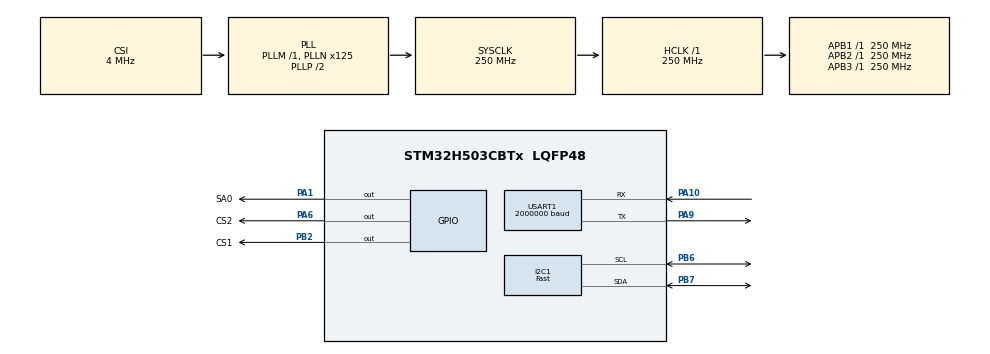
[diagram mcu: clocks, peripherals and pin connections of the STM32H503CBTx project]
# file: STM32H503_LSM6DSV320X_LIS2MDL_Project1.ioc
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I2C1.I2C_Speed_Mode=I2C_Fast
I2C1.Timing=0x10C043E5
Mcu.Family=STM32H5
Mcu.Name=STM32H503CBTx
Mcu.Package=LQFP48
NVIC.PriorityGroup=NVIC_PRIORITYGROUP_4
PA1.GPIO_Label=SA0
PA1.Signal=GPIO_Output
PA10.Mode=Asynchronous
PA10.Signal=USART1_RX
PA6.GPIO_Label=CS2
PA6.Signal=GPIO_Output
PA9.Mode=Asynchronous
PA9.Signal=USART1_TX
PB2.GPIO_Label=CS1
PB2.Signal=GPIO_Output
PB6.Mode=I2C
PB6.Signal=I2C1_SCL
PB7.Mode=I2C
PB7.Signal=I2C1_SDA
ProjectManager.HeapSize=0x2000
ProjectManager.StackSize=0x4000
ProjectManager.TargetToolchain=MDK-ARM V5.37
RCC.ADCFreq_Value=250000000
RCC.AHBFreq_Value=250000000
RCC.APB1Freq_Value=250000000
RCC.APB1TimFreq_Value=250000000
RCC.APB2Freq_Value=250000000
RCC.APB2TimFreq_Value=250000000
RCC.APB3Freq_Value=250000000
RCC.CSI_VALUE=4000000
RCC.CortexFreq_Value=250000000
RCC.EPOD_VALUE=4000000
RCC.HCLKFreq_Value=250000000
RCC.HSE_VALUE=25000000
RCC.HSI48_VALUE=48000000
RCC.HSI_VALUE=64000000
RCC.LSE_VALUE=32768
RCC.LSIRC_VALUE=32000
RCC.PLL2FRACN=0
RCC.PLLFRACN=0
RCC.PLLN=125
RCC.SYSCLKFreq_VALUE=250000000
RCC.SYSCLKSource=RCC_SYSCLKSOURCE_PLLCLK
RCC.USBFreq_Value=48000000
RCC.VCOOutputFreq_Value=500000000
USART1.BaudRate=2000000
USART1.VirtualMode-Asynchronous=VM_ASYNC
VP_BOOTPATH_VS_BOOTPATH.Mode=BP_Activate
VP_CORTEX_M33_NS_VS_Hclk.Mode=Hclk_Mode
VP_ICACHE_VS_ICACHE.Mode=DirectMappedCache
VP_MEMORYMAP_VS_MEMORYMAP.Mode=CurAppReg
VP_PWR_VS_LPOM.Mode=PowerOptimisation
VP_PWR_VS_SECSignals.Mode=Security/Privilege
board=custom

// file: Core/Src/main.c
/* USER CODE BEGIN Header */
/**
  ******************************************************************************
  * @file           : main.c
  * @brief          : Main program body
  ******************************************************************************
  * @attention
  *
  * Copyright (c) 2026 STMicroelectronics.
  * All rights reserved.
  *
  * This software is licensed under terms that can be found in the LICENSE file
  * in the root directory of this software component.
  * If no LICENSE file comes with this software, it is provided AS-IS.
  *
  ******************************************************************************
  */
/* USER CODE END Header */
#include "main.h"
#include "i2c.h"
#include "icache.h"
#include "usart.h"
#include "gpio.h"

/* USER CODE BEGIN Includes */
#include "stdio.h"
#include "lsm6dsv320x_reg.h"
#include <string.h>
/* USER CODE END Includes */

void SystemClock_Config(void);
/* USER CODE BEGIN PFP */
int fputc(int ch, FILE *f){
	HAL_UART_Transmit(&huart1 , (uint8_t *)&ch, 1, 0xFFFF);
	return ch;
}
/* USER CODE END PFP */

/* USER CODE BEGIN 0 */
#define SENSOR_BUS hi2c1

/* Private macro -------------------------------------------------------------*/
#define    BOOT_TIME            10 //ms
#define    CNT_FOR_OUTPUT       100

/* Private variables ---------------------------------------------------------*/
static int16_t data_raw_motion[3];
static int16_t data_raw_temperature;
static float_t acceleration_mg[3];
static float_t angular_rate_mdps[3];
static float_t temperature_degC;
static uint8_t whoamI;
static uint8_t tx_buffer[1000];

static lsm6dsv320x_filt_settling_mask_t filt_settling_mask;

/* Extern variables ----------------------------------------------------------*/

/* Private functions ---------------------------------------------------------*/

/*
 *   WARNING:
 *   Functions declare in this section are defined at the end of this file
 *   and are strictly related to the hardware platform used.
 *
 */
static int32_t platform_write(void *handle, uint8_t reg, const uint8_t *bufp,
                              uint16_t len);
static int32_t platform_read(void *handle, uint8_t reg, uint8_t *bufp,
                             uint16_t len);
static void tx_com( uint8_t *tx_buffer, uint16_t len );
static void platform_delay(uint32_t ms);
static void platform_init(void);

/* USER CODE END 0 */

int main(void)
{

  /* MCU Configuration--------------------------------------------------------*/

  /* Reset of all peripherals, Initializes the Flash interface and the Systick. */
  HAL_Init();

  /* Configure the system clock */
  SystemClock_Config();

  /* Initialize all configured peripherals */
  MX_GPIO_Init();
  MX_I2C1_Init();
  MX_ICACHE_Init();
  MX_USART1_UART_Init();
  /* USER CODE BEGIN 2 */

	printf("HELLO!\n");
  HAL_GPIO_WritePin(CS1_GPIO_Port, CS1_Pin, GPIO_PIN_SET);
  HAL_GPIO_WritePin(SA0_GPIO_Port, SA0_Pin, GPIO_PIN_RESET);
  HAL_GPIO_WritePin(CS2_GPIO_Port, CS2_Pin, GPIO_PIN_SET);
	HAL_Delay(100);

  stmdev_ctx_t dev_ctx;
  double_t lowg_xl_sum[3], hg_xl_sum[3], gyro_sum[3], temp_sum;
  uint16_t lowg_xl_cnt = 0, hg_xl_cnt = 0, gyro_cnt = 0, temp_cnt = 0;

  /* Initialize mems driver interface */
  dev_ctx.write_reg = platform_write;
  dev_ctx.read_reg = platform_read;
  dev_ctx.mdelay = platform_delay;
  dev_ctx.handle = &SENSOR_BUS;

  /* Init test platform */
//  platform_init();

  /* Wait sensor boot time */
  platform_delay(BOOT_TIME);

  /* Check device ID */
  lsm6dsv320x_device_id_get(&dev_ctx, &whoamI);
	printf("LSM6DSV320X_ID=0x%x,whoamI=0x%x",LSM6DSV320X_ID,whoamI);
  if (whoamI != LSM6DSV320X_ID)
    while (1);

  /* Perform device power-on-reset */
  lsm6dsv320x_sw_por(&dev_ctx);

  /* Enable Block Data Update */
  lsm6dsv320x_block_data_update_set(&dev_ctx, PROPERTY_ENABLE);

  /* Set Output Data Rate.
   * Selected data rate have to be equal or greater with respect
   * with MLC data rate.
   */
  lsm6dsv320x_xl_setup(&dev_ctx, LSM6DSV320X_ODR_AT_60Hz, LSM6DSV320X_XL_HIGH_PERFORMANCE_MD);
  lsm6dsv320x_hg_xl_data_rate_set(&dev_ctx, LSM6DSV320X_HG_XL_ODR_AT_960Hz, 1);
  lsm6dsv320x_gy_setup(&dev_ctx, LSM6DSV320X_ODR_AT_120Hz, LSM6DSV320X_GY_HIGH_PERFORMANCE_MD);

  /* Set full scale */
  lsm6dsv320x_xl_full_scale_set(&dev_ctx, LSM6DSV320X_2g);
  lsm6dsv320x_hg_xl_full_scale_set(&dev_ctx, LSM6DSV320X_320g);
  lsm6dsv320x_gy_full_scale_set(&dev_ctx, LSM6DSV320X_2000dps);

  /* Configure filtering chain */
  filt_settling_mask.drdy = PROPERTY_ENABLE;
  filt_settling_mask.irq_xl = PROPERTY_ENABLE;
  filt_settling_mask.irq_g = PROPERTY_ENABLE;
  lsm6dsv320x_filt_settling_mask_set(&dev_ctx, filt_settling_mask);
  lsm6dsv320x_filt_gy_lp1_set(&dev_ctx, PROPERTY_ENABLE);
  lsm6dsv320x_filt_gy_lp1_bandwidth_set(&dev_ctx, LSM6DSV320X_GY_ULTRA_LIGHT);
  lsm6dsv320x_filt_xl_lp2_set(&dev_ctx, PROPERTY_ENABLE);
  lsm6dsv320x_filt_xl_lp2_bandwidth_set(&dev_ctx, LSM6DSV320X_XL_STRONG);

  lowg_xl_sum[0] = lowg_xl_sum[1] = lowg_xl_sum[2] = 0.0;
  hg_xl_sum[0] = hg_xl_sum[1] = hg_xl_sum[2] = 0.0;
  gyro_sum[0] = gyro_sum[1] = gyro_sum[2] = 0.0;
  temp_sum = 0.0;
  /* USER CODE END 2 */

  /* Infinite loop */
  /* USER CODE BEGIN WHILE */
  while (1)
  {

		    lsm6dsv320x_data_ready_t drdy;

    /* Read output only if new xl value is available */
    lsm6dsv320x_flag_data_ready_get(&dev_ctx, &drdy);

    if (drdy.drdy_xl) {
      /* Read acceleration field data */
      memset(data_raw_motion, 0x00, 3 * sizeof(int16_t));
      lsm6dsv320x_acceleration_raw_get(&dev_ctx, data_raw_motion);
      acceleration_mg[0] = lsm6dsv320x_from_fs2_to_mg(data_raw_motion[0]);
      acceleration_mg[1] = lsm6dsv320x_from_fs2_to_mg(data_raw_motion[1]);
      acceleration_mg[2] = lsm6dsv320x_from_fs2_to_mg(data_raw_motion[2]);

      lowg_xl_sum[0] += acceleration_mg[0];
      lowg_xl_sum[1] += acceleration_mg[1];
      lowg_xl_sum[2] += acceleration_mg[2];
      lowg_xl_cnt++;
    }

    if (drdy.drdy_hgxl) {
      /* Read acceleration field data */
      memset(data_raw_motion, 0x00, 3 * sizeof(int16_t));
      lsm6dsv320x_hg_acceleration_raw_get(&dev_ctx, data_raw_motion);
      acceleration_mg[0] = lsm6dsv320x_from_fs256_to_mg(data_raw_motion[0]);
      acceleration_mg[1] = lsm6dsv320x_from_fs256_to_mg(data_raw_motion[1]);
      acceleration_mg[2] = lsm6dsv320x_from_fs256_to_mg(data_raw_motion[2]);

      hg_xl_sum[0] += acceleration_mg[0];
      hg_xl_sum[1] += acceleration_mg[1];
      hg_xl_sum[2] += acceleration_mg[2];
      hg_xl_cnt++;
    }

    /* Read output only if new xl value is available */
    if (drdy.drdy_gy) {
      /* Read angular rate field data */
      memset(data_raw_motion, 0x00, 3 * sizeof(int16_t));
      lsm6dsv320x_angular_rate_raw_get(&dev_ctx, data_raw_motion);
      angular_rate_mdps[0] = lsm6dsv320x_from_fs2000_to_mdps(data_raw_motion[0]);
      angular_rate_mdps[1] = lsm6dsv320x_from_fs2000_to_mdps(data_raw_motion[1]);
      angular_rate_mdps[2] = lsm6dsv320x_from_fs2000_to_mdps(data_raw_motion[2]);

      gyro_sum[0] += angular_rate_mdps[0];
      gyro_sum[1] += angular_rate_mdps[1];
      gyro_sum[2] += angular_rate_mdps[2];
      gyro_cnt++;
    }

    if (drdy.drdy_temp) {
      /* Read temperature data */
      memset(&data_raw_temperature, 0x00, sizeof(int16_t));
      lsm6dsv320x_temperature_raw_get(&dev_ctx, &data_raw_temperature);
      temperature_degC = lsm6dsv320x_from_lsb_to_celsius(data_raw_temperature);
      temp_sum += temperature_degC;
      temp_cnt++;
    }

    if (lowg_xl_cnt >= CNT_FOR_OUTPUT) {
      /* print avg low-g xl data */
      acceleration_mg[0] = lowg_xl_sum[0] / lowg_xl_cnt;
      acceleration_mg[1] = lowg_xl_sum[1] / lowg_xl_cnt;
      acceleration_mg[2] = lowg_xl_sum[2] / lowg_xl_cnt;

      printf("lg xl (avg of %d samples) [mg]:%4.2f\t%4.2f\t%4.2f\r\n",
              lowg_xl_cnt, acceleration_mg[0], acceleration_mg[1], acceleration_mg[2]);
      lowg_xl_sum[0] = lowg_xl_sum[1] = lowg_xl_sum[2] = 0.0;
      lowg_xl_cnt = 0;

      /* print avg high-g xl data */
      acceleration_mg[0] = hg_xl_sum[0] / hg_xl_cnt;
      acceleration_mg[1] = hg_xl_sum[1] / hg_xl_cnt;
      acceleration_mg[2] = hg_xl_sum[2] / hg_xl_cnt;

      printf("hg xl (avg of %d samples) [mg]:%4.2f\t%4.2f\t%4.2f\r\n",
              hg_xl_cnt, acceleration_mg[0], acceleration_mg[1], acceleration_mg[2]);
      hg_xl_sum[0] = hg_xl_sum[1] = hg_xl_sum[2] = 0.0;
      hg_xl_cnt = 0;

      /* print avg gyro data */
      angular_rate_mdps[0] = gyro_sum[0] / gyro_cnt;
      angular_rate_mdps[1] = gyro_sum[1] / gyro_cnt;
      angular_rate_mdps[2] = gyro_sum[2] / gyro_cnt;

      printf("gyro (avg of %d samples) [mdps]:%4.2f\t%4.2f\t%4.2f\r\n",
              gyro_cnt, angular_rate_mdps[0], angular_rate_mdps[1], angular_rate_mdps[2]);
      gyro_sum[0] = gyro_sum[1] = gyro_sum[2] = 0.0;
      gyro_cnt = 0;

      /* print avg temperature data */
      temperature_degC = temp_sum / temp_cnt;
      printf("Temperature (avg of %d samples) [degC]:%6.2f\r\n\r\n",
              temp_cnt, temperature_degC);
      temp_cnt = 0;
      temp_sum = 0.0;
		}

    /* USER CODE END WHILE */

  }
}

void SystemClock_Config(void)
{
  RCC_OscInitTypeDef RCC_OscInitStruct = {0};
  RCC_ClkInitTypeDef RCC_ClkInitStruct = {0};

  /** Configure the main internal regulator output voltage
  */
  __HAL_PWR_VOLTAGESCALING_CONFIG(PWR_REGULATOR_VOLTAGE_SCALE0);

  while(!__HAL_PWR_GET_FLAG(PWR_FLAG_VOSRDY)) {}

  /** Initializes the RCC Oscillators according to the specified parameters
  * in the RCC_OscInitTypeDef structure.
  */
  RCC_OscInitStruct.OscillatorType = RCC_OSCILLATORTYPE_CSI;
  RCC_OscInitStruct.CSIState = RCC_CSI_ON;
  RCC_OscInitStruct.CSICalibrationValue = RCC_CSICALIBRATION_DEFAULT;
  RCC_OscInitStruct.PLL.PLLState = RCC_PLL_ON;
  RCC_OscInitStruct.PLL.PLLSource = RCC_PLL1_SOURCE_CSI;
  RCC_OscInitStruct.PLL.PLLM = 1;
  RCC_OscInitStruct.PLL.PLLN = 125;
  RCC_OscInitStruct.PLL.PLLP = 2;
  RCC_OscInitStruct.PLL.PLLQ = 2;
  RCC_OscInitStruct.PLL.PLLR = 2;
  RCC_OscInitStruct.PLL.PLLRGE = RCC_PLL1_VCIRANGE_2;
  RCC_OscInitStruct.PLL.PLLVCOSEL = RCC_PLL1_VCORANGE_WIDE;
  RCC_OscInitStruct.PLL.PLLFRACN = 0;
  if (HAL_RCC_OscConfig(&RCC_OscInitStruct) != HAL_OK)
  {
    Error_Handler();
  }

  /** Initializes the CPU, AHB and APB buses clocks
  */
  RCC_ClkInitStruct.ClockType = RCC_CLOCKTYPE_HCLK|RCC_CLOCKTYPE_SYSCLK
                              |RCC_CLOCKTYPE_PCLK1|RCC_CLOCKTYPE_PCLK2
                              |RCC_CLOCKTYPE_PCLK3;
  RCC_ClkInitStruct.SYSCLKSource = RCC_SYSCLKSOURCE_PLLCLK;
  RCC_ClkInitStruct.AHBCLKDivider = RCC_SYSCLK_DIV1;
  RCC_ClkInitStruct.APB1CLKDivider = RCC_HCLK_DIV1;
  RCC_ClkInitStruct.APB2CLKDivider = RCC_HCLK_DIV1;
  RCC_ClkInitStruct.APB3CLKDivider = RCC_HCLK_DIV1;

  if (HAL_RCC_ClockConfig(&RCC_ClkInitStruct, FLASH_LATENCY_5) != HAL_OK)
  {
    Error_Handler();
  }

  /** Configure the programming delay
  */
  __HAL_FLASH_SET_PROGRAM_DELAY(FLASH_PROGRAMMING_DELAY_2);
}

/* USER CODE BEGIN 4 */
/*
 * @brief  Write generic device register (platform dependent)
 *
 * @param  handle    customizable argument. In this examples is used in
 *                   order to select the correct sensor bus handler.
 * @param  reg       register to write
 * @param  bufp      pointer to data to write in register reg
 * @param  len       number of consecutive register to write
 *
 */
static int32_t platform_write(void *handle, uint8_t reg, const uint8_t *bufp,
                              uint16_t len)
{
  HAL_I2C_Mem_Write(handle, LSM6DSV320X_I2C_ADD_L, reg,
                    I2C_MEMADD_SIZE_8BIT, (uint8_t*) bufp, len, 1000);
  return 0;
}

/*
 * @brief  Read generic device register (platform dependent)
 *
 * @param  handle    customizable argument. In this examples is used in
 *                   order to select the correct sensor bus handler.
 * @param  reg       register to read
 * @param  bufp      pointer to buffer that store the data read
 * @param  len       number of consecutive register to read
 *
 */
static int32_t platform_read(void *handle, uint8_t reg, uint8_t *bufp,
                             uint16_t len)
{
  HAL_I2C_Mem_Read(handle, LSM6DSV320X_I2C_ADD_L, reg,
                   I2C_MEMADD_SIZE_8BIT, bufp, len, 1000);
  return 0;
}

/*
 * @brief  platform specific delay (platform dependent)
 *
 * @param  ms        delay in ms
 *
 */
static void platform_delay(uint32_t ms)
{
  HAL_Delay(ms);
}
/* USER CODE END 4 */

void Error_Handler(void)
{
  __disable_irq();
  while (1)
  {
  }
}
